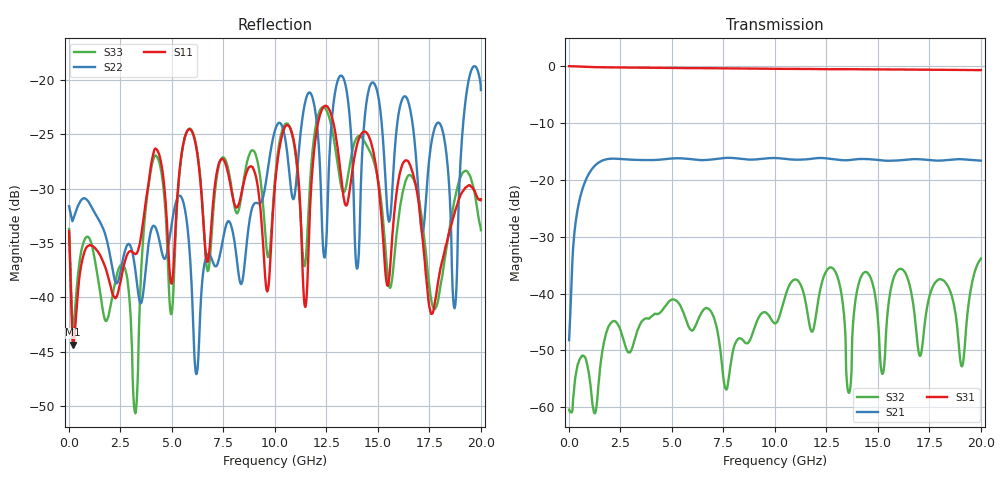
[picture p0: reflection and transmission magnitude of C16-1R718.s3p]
! MARKI MICROWAVE INC.
! Email:  info@markimicrowave.com  Phone:  408-778-4200
! Model Number:  C10-0226  Date:  10/12
! Filename:		C10-0226.S4P  Version: 1.0
! Description:  4-port S-parameter data for Directional Coupler C10-0226
! Frequency Range: 	10 MHz to 26.5 GHz
! Port Configuration:	PORT 1: Input
!  PORT 2: Output
!  Port 3: Coupled
!  Port 4: Isolated
! S4P File: Measurements: Mag<S11> Ang<S11> Mag<S12> Ang<S12> Mag<S13> Ang<S13> Mag<S14> Ang<S14>! row 1
!  Mag<S21> Ang<S21> Mag<S22> Ang<S22> Mag<S23> Ang<S23> Mag<S24> Ang<S24>! row 2
!  Mag<S31> Ang<S31> Mag<S32> Ang<S32> Mag<S33> Ang<S33> Mag<S34> Ang<S34>! row 3
!  Mag<S41> Ang<S41> Mag<S42> Ang<S42> Mag<S43> Ang<S43> Mag<S44> Ang<S44>! row 4
# Hz S  dB  R 50
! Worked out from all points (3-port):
!   617 points, 10 MHz to 20 GHz, reference 50 ohm
!   strongest paths, dB at 10 MHz, 5.013 GHz, 10.02 GHz, 15.02 GHz, 20 GHz:
!     S31: 0.0, -0.3, -0.5, -0.6, -0.7
!     S21: -48.2, -16.3, -16.2, -16.5, -16.6
!     S32: -60.4, -41.0, -45.3, -45.3, -33.8
!   lowest |S11| = -44.4 dB at 204.9 MHz (marker M1), VSWR 1.01, Z = 50.5 - j0.319 ohm
!   |S11| at or under -10 dB: start of sweep to end of sweep
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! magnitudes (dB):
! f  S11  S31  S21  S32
! 10 MHz  -33.9  0.0  -48.2  -60.4
! 204.9 MHz  -44.4  -0.1  -31.9  -58.4
! 3.226 GHz  -36.0  -0.3  -16.5  -47.7
! 4.038 GHz  -27.3  -0.3  -16.5  -44.0
! 6.183 GHz  -26.2  -0.4  -16.5  -45.4
! 10.02 GHz  -29.4  -0.5  -16.2  -45.3
! 13.59 GHz  -30.6  -0.6  -16.5  -57.5
! 17.98 GHz  -38.0  -0.7  -16.6  -37.5
! 18.72 GHz  -32.3  -0.7  -16.4  -42.6
! 20 GHz  -31.0  -0.7  -16.6  -33.8
